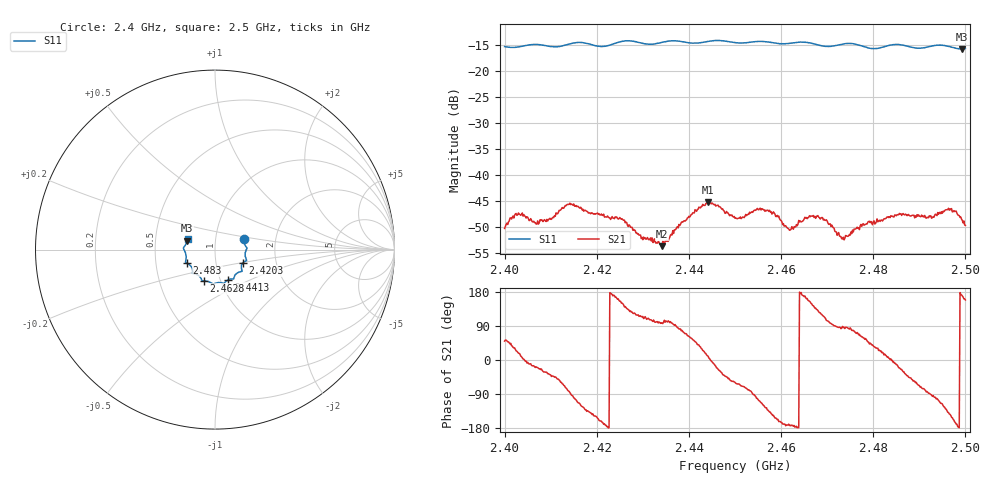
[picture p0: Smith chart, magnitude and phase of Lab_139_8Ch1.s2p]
# Hz S RI R 50
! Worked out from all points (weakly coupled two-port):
!   601 points, 2.4 GHz to 2.5 GHz, reference 50 ohm
!   highest |S21| = -45.14 dB at 2.4442 GHz (marker M1); lowest = -53.6 dB at 2.4342 GHz (marker M2)
!   lowest |S11| = -15.8 dB at 2.4993 GHz (marker M3), VSWR 1.39, Z = 36.5 + j3.7 ohm
!   |S11| at or under -10 dB: start of sweep to end of sweep
!   S12 and S22 are empty: the file has one direction only
!   S11 on the Smith chart (normalised r, x): 2.4 GHz: 1.37, +0.16; 2.4203 GHz: 1.35, -0.21; 2.4413 GHz: 1.09, -0.38; 2.4628 GHz: 0.83, -0.30; 2.483 GHz: 0.72, -0.11; 2.5 GHz: 0.73, +0.09
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2.4e9  0.1608 0.057  0.00198 0.00236  0 0  0 0
2.402667e9  0.1658 0.0283  0.00379 0.00161  0 0  0 0
2.407e9  0.1784 0.00756  0.00319 -0.00113  0 0  0 0
2.413667e9  0.172 -0.0488  0.000955 -0.00515  0 0  0 0
2.416667e9  0.1761 -0.0616  -0.00253 -0.0041  0 0  0 0
2.420333e9  0.1551 -0.0741  -0.00383 -0.00174  0 0  0 0
2.4255e9  0.1514 -0.1174  -0.0033 0.00191  0 0  0 0
2.433333e9  0.1079 -0.1485  -0.000307 0.00229  0 0  0 0
2.434167e9  0.1059 -0.1544  -0.000254 0.00207  0 0  0 0
2.441333e9  0.0743 -0.168  0.00309 0.00349  0 0  0 0
2.444167e9  0.0551 -0.183  0.00545 0.000947  0 0  0 0
2.45e9  0.0293 -0.1837  0.00199 -0.00331  0 0  0 0
2.455833e9  -0.0113 -0.1907  -0.00196 -0.00433  0 0  0 0
2.462833e9  -0.0628 -0.175  -0.00318 -0.000402  0 0  0 0
2.466667e9  -0.0744 -0.1675  -0.00343 0.00215  0 0  0 0
2.4695e9  -0.0883 -0.1469  -0.00138 0.00342  0 0  0 0
2.473333e9  -0.1201 -0.1342  5.86e-05 0.00244  0 0  0 0
2.483e9  -0.155 -0.0767  0.00393 0.000546  0 0  0 0
2.483333e9  -0.1572 -0.0759  0.0039 0.000356  0 0  0 0
2.4965e9  -0.1694 0.019  -0.00365 -0.00282  0 0  0 0
2.499333e9  -0.1543 0.0494  -0.00361 0.000697  0 0  0 0
2.5e9  -0.1528 0.0584  -0.00306 0.00121  0 0  0 0
